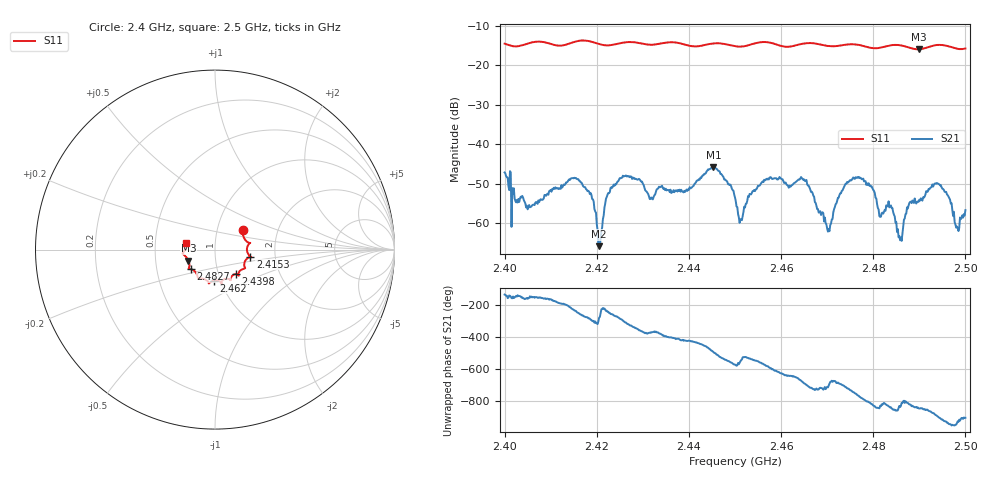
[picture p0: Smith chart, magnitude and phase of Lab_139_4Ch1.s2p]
# Hz S RI R 50
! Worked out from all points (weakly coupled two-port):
!   601 points, 2.4 GHz to 2.5 GHz, reference 50 ohm
!   highest |S21| = -45.76 dB at 2.4453 GHz (marker M1); lowest = -65.9 dB at 2.4205 GHz (marker M2)
!   lowest |S11| = -15.9 dB at 2.4898 GHz (marker M3), VSWR 1.38, Z = 36.9 - j4.62 ohm
!   |S11| at or under -10 dB: start of sweep to end of sweep
!   S12 and S22 are empty: the file has one direction only
!   S11 on the Smith chart (normalised r, x): 2.4 GHz: 1.33, +0.29; 2.4153 GHz: 1.48, -0.12; 2.4398 GHz: 1.21, -0.34; 2.462 GHz: 0.93, -0.33; 2.4827 GHz: 0.75, -0.17; 2.5 GHz: 0.72, +0.06
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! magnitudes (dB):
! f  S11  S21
! 2.4 GHz  -14.5  -47.2
! 2.4052 GHz  -14.4  -56.0
! 2.4153 GHz  -14.0  -48.6
! 2.4167 GHz  -13.7  -49.7
! 2.4205 GHz  -14.6  -65.9
! 2.4253 GHz  -14.3  -48.5
! 2.4333 GHz  -14.6  -51.2
! 2.4398 GHz  -15.0  -51.4
! 2.4453 GHz  -14.4  -45.8
! 2.45 GHz  -15.1  -53.5
! 2.4512 GHz  -15.3  -59.0
! 2.462 GHz  -15.2  -50.8
! 2.4667 GHz  -14.4  -52.1
! 2.4702 GHz  -15.1  -62.2
! 2.476 GHz  -14.7  -48.8
! 2.4827 GHz  -15.2  -56.9
! 2.4833 GHz  -15.0  -54.5
! 2.4858 GHz  -14.9  -64.4
! 2.4898 GHz  -15.9  -54.6
! 2.4938 GHz  -14.8  -49.8
! 2.4982 GHz  -15.8  -60.9
! 2.5 GHz  -15.7  -56.7
